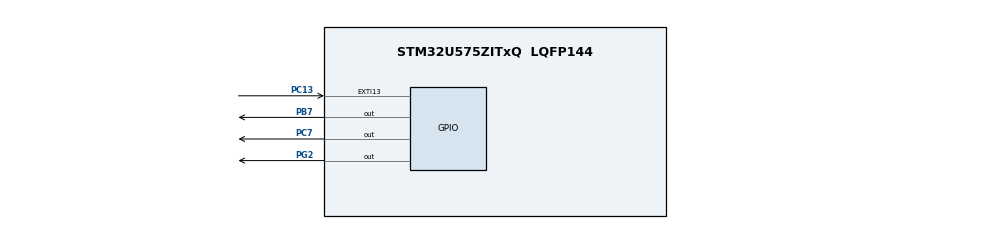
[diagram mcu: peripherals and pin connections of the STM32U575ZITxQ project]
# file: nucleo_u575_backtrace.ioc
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CORTEX_M33_NS.userName=CORTEX_M33
Mcu.Family=STM32U5
Mcu.Name=STM32U575ZITxQ
Mcu.Package=LQFP144
NUCLEO-U575ZI-Q.BUTTON=1
NUCLEO-U575ZI-Q.LD1=true
NUCLEO-U575ZI-Q.LD2=true
NUCLEO-U575ZI-Q.LD3=true
NUCLEO-U575ZI-Q.VCP=true
NVIC.EXTI13_IRQn=true\:0\:0\:false\:false\:true\:false\:true\:true
NVIC.PriorityGroup=NVIC_PRIORITYGROUP_3
NVIC.TIM17_IRQn=true\:7\:0\:false\:false\:true\:false\:true\:true
NVIC.TimeBase=TIM17_IRQn
NVIC.TimeBaseIP=TIM17
PA10.Signal=USART1_RX
PA13\ (JTMS/SWDIO).Signal=DEBUG_JTMS-SWDIO
PA14\ (JTCK/SWCLK).Signal=DEBUG_JTCK-SWCLK
PA9.Signal=USART1_TX
PB3\ (JTDO/TRACESWO).Signal=DEBUG_JTDO-SWO
PB7.Signal=GPIO_Output
PC13.Signal=GPXTI13
PC14-OSC32_IN\ (PC14).Signal=RCC_OSC32_IN
PC15-OSC32_OUT\ (PC15).Signal=RCC_OSC32_OUT
PC7.Signal=GPIO_Output
PG2.Signal=GPIO_Output
PWR.PowerMode=PWR_SMPS_SUPPLY
ProjectManager.HeapSize=0x200
ProjectManager.StackSize=0x400
ProjectManager.TargetToolchain=STM32CubeIDE
RCC.ADCFreq_Value=16000000
RCC.DACCLockSelectionVirtual=RCC_DAC1CLKSOURCE_LSI
RCC.EPOD_VALUE=4000000
RCC.HSE_VALUE=16000000
RCC.HSI48_VALUE=48000000
RCC.HSI_VALUE=16000000
RCC.LSE_VALUE=32768
RCC.LSIDIV_VALUE=32000
RCC.MSI_VALUE=4000000
RCC.USBFreq_Value=48000000
RCC.VCOOutputFreq_Value=516000000
VP_ICACHE_VS_ENABLE_ICACHE_MEMORY.Mode=Memoryregions
VP_ICACHE_VS_ICACHE.Mode=DirectMappedCache
VP_LPBAMQUEUE_VS_QUEUE.Mode=QUEUEMODE
VP_LPBAM_VS_SIG1.Mode=SmartRun
VP_LPBAM_VS_SIG4.Mode=LPDMA1
VP_MEMORYMAP_VS_MEMORYMAP.Mode=CurAppReg
VP_NUCLEO-U575ZI-Q_VS_BSP_COMMON.Mode=COMMON
VP_PWR_VS_DBSignals.Mode=DisableDeadBatterySignals
VP_PWR_VS_LPOM.Mode=PowerOptimisation
VP_PWR_VS_SECSignals.Mode=Security/Privilege
VP_SYS_VS_tim17.Mode=TIM17
board=NUCLEO-U575ZI-Q

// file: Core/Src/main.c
/* USER CODE BEGIN Header */
/**
  ******************************************************************************
  * @file           : main.c
  * @brief          : Main program body
  ******************************************************************************
  * @attention
  *
  * Copyright (c) 2024 STMicroelectronics.
  * All rights reserved.
  *
  * This software is licensed under terms that can be found in the LICENSE file
  * in the root directory of this software component.
  * If no LICENSE file comes with this software, it is provided AS-IS.
  *
  ******************************************************************************
  */
/* USER CODE END Header */
#include "main.h"

/* USER CODE BEGIN Includes */
#include <cm_backtrace.h>
#include <stdio.h>

#define HARDWARE_VERSION               "V1.0.0"
#define SOFTWARE_VERSION               "V0.1.0"
void fault_test_by_unalign(void) {
    volatile int * SCB_CCR = (volatile int *) 0xE000ED14; // SCB->CCR
    volatile int * p;
    volatile int value;

    *SCB_CCR |= (1 << 3); /* bit3: UNALIGN_TRP. */

    p = (int *) 0x00;
    value = *p;
    printf("addr:0x%02X value:0x%08X\r\n", (int) p, value);

    p = (int *) 0x04;
    value = *p;
    printf("addr:0x%02X value:0x%08X\r\n", (int) p, value);

    p = (int *) 0x03;
    value = *p;
    printf("addr:0x%02X value:0x%08X\r\n", (int) p, value);
}

void fault_test_by_div0(void) {
    volatile int * SCB_CCR = (volatile int *) 0xE000ED14; // SCB->CCR
    int x, y, z;

    *SCB_CCR |= (1 << 4); /* bit4: DIV_0_TRP. */

    x = 10;
    y = 0;
    z = x / y;
    printf("z:%d\n", z);
}
static int func_c();
static int func_c() {
    int c=0;
        c++;
    //printf("fault_test_by_unalign\n");
    //fault_test_by_unalign();
    printf("fault_test_by_div0\n");
    fault_test_by_div0();
    return 0;
}
static int func_b();
static int func_b() {
    int b=0;
        b++;
    return func_c();
}
static int func_a();
static int func_a() {
    int a=0;
    a++;
    return func_b();
}
/* USER CODE END Includes */

COM_InitTypeDef BspCOMInit;

void SystemClock_Config(void);
static void SystemPower_Config(void);
static void MX_GPIO_Init(void);
static void MX_ICACHE_Init(void);

int main(void)
{

  /* MCU Configuration--------------------------------------------------------*/

  /* Reset of all peripherals, Initializes the Flash interface and the Systick. */
  HAL_Init();

  /* Configure the System Power */
  SystemPower_Config();

  /* Configure the system clock */
  SystemClock_Config();

  /* Initialize all configured peripherals */
  MX_GPIO_Init();
  MX_ICACHE_Init();

  /* Initialize leds */
  BSP_LED_Init(LED_GREEN);
  BSP_LED_Init(LED_BLUE);
  BSP_LED_Init(LED_RED);

  /* Initialize USER push-button, will be used to trigger an interrupt each time it's pressed.*/
  BSP_PB_Init(BUTTON_USER, BUTTON_MODE_EXTI);

  /* Initialize COM1 port (115200, 8 bits (7-bit data + 1 stop bit), no parity */
  BspCOMInit.BaudRate   = 115200;
  BspCOMInit.WordLength = COM_WORDLENGTH_8B;
  BspCOMInit.StopBits   = COM_STOPBITS_1;
  BspCOMInit.Parity     = COM_PARITY_NONE;
  BspCOMInit.HwFlowCtl  = COM_HWCONTROL_NONE;
  if (BSP_COM_Init(COM1, &BspCOMInit) != BSP_ERROR_NONE)
  {
    Error_Handler();
  }

  printf("hello world!\n");
  printf("date:%s\ntime:%s\nfile:%s\nfunc:%s,line:%d\nhello world!\n", __DATE__, __TIME__, __FILE__, __FUNCTION__, __LINE__);

  /* Infinite loop */
  /* USER CODE BEGIN WHILE */
  /* CmBacktrace initialize */
  cm_backtrace_init("CmBacktrace", HARDWARE_VERSION, SOFTWARE_VERSION);

  //fault_test_by_unalign();
  //fault_test_by_div0();
  func_a();
  while (1)
  {
	  printf("hello\n");
	  HAL_Delay(1000);
    /* USER CODE END WHILE */

  }
}

void SystemClock_Config(void)
{
  RCC_OscInitTypeDef RCC_OscInitStruct = {0};
  RCC_ClkInitTypeDef RCC_ClkInitStruct = {0};

  /** Configure the main internal regulator output voltage
  */
  if (HAL_PWREx_ControlVoltageScaling(PWR_REGULATOR_VOLTAGE_SCALE4) != HAL_OK)
  {
    Error_Handler();
  }

  /** Initializes the CPU, AHB and APB buses clocks
  */
  RCC_OscInitStruct.OscillatorType = RCC_OSCILLATORTYPE_MSI;
  RCC_OscInitStruct.MSIState = RCC_MSI_ON;
  RCC_OscInitStruct.MSICalibrationValue = RCC_MSICALIBRATION_DEFAULT;
  RCC_OscInitStruct.MSIClockRange = RCC_MSIRANGE_4;
  RCC_OscInitStruct.PLL.PLLState = RCC_PLL_NONE;
  if (HAL_RCC_OscConfig(&RCC_OscInitStruct) != HAL_OK)
  {
    Error_Handler();
  }

  /** Initializes the CPU, AHB and APB buses clocks
  */
  RCC_ClkInitStruct.ClockType = RCC_CLOCKTYPE_HCLK|RCC_CLOCKTYPE_SYSCLK
                              |RCC_CLOCKTYPE_PCLK1|RCC_CLOCKTYPE_PCLK2
                              |RCC_CLOCKTYPE_PCLK3;
  RCC_ClkInitStruct.SYSCLKSource = RCC_SYSCLKSOURCE_MSI;
  RCC_ClkInitStruct.AHBCLKDivider = RCC_SYSCLK_DIV1;
  RCC_ClkInitStruct.APB1CLKDivider = RCC_HCLK_DIV1;
  RCC_ClkInitStruct.APB2CLKDivider = RCC_HCLK_DIV1;
  RCC_ClkInitStruct.APB3CLKDivider = RCC_HCLK_DIV1;

  if (HAL_RCC_ClockConfig(&RCC_ClkInitStruct, FLASH_LATENCY_0) != HAL_OK)
  {
    Error_Handler();
  }
}

/**
  * @brief Power Configuration
  * @retval None
  */
static void SystemPower_Config(void)
{

  /*
   * Disable the internal Pull-Up in Dead Battery pins of UCPD peripheral
   */
  HAL_PWREx_DisableUCPDDeadBattery();

  /*
   * Switch to SMPS regulator instead of LDO
   */
  if (HAL_PWREx_ConfigSupply(PWR_SMPS_SUPPLY) != HAL_OK)
  {
    Error_Handler();
  }
}

static void MX_ICACHE_Init(void)
{

  /** Enable instruction cache in 1-way (direct mapped cache)
  */
  if (HAL_ICACHE_ConfigAssociativityMode(ICACHE_1WAY) != HAL_OK)
  {
    Error_Handler();
  }
  if (HAL_ICACHE_Enable() != HAL_OK)
  {
    Error_Handler();
  }

}

static void MX_GPIO_Init(void)
{

  /* GPIO Ports Clock Enable */
  __HAL_RCC_GPIOC_CLK_ENABLE();
  __HAL_RCC_GPIOA_CLK_ENABLE();
  __HAL_RCC_GPIOB_CLK_ENABLE();

}

void HAL_TIM_PeriodElapsedCallback(TIM_HandleTypeDef *htim)
{
  if (htim->Instance == TIM17) {
    HAL_IncTick();
  }
}

void Error_Handler(void)
{
  __disable_irq();
  while (1)
  {
  }
}
